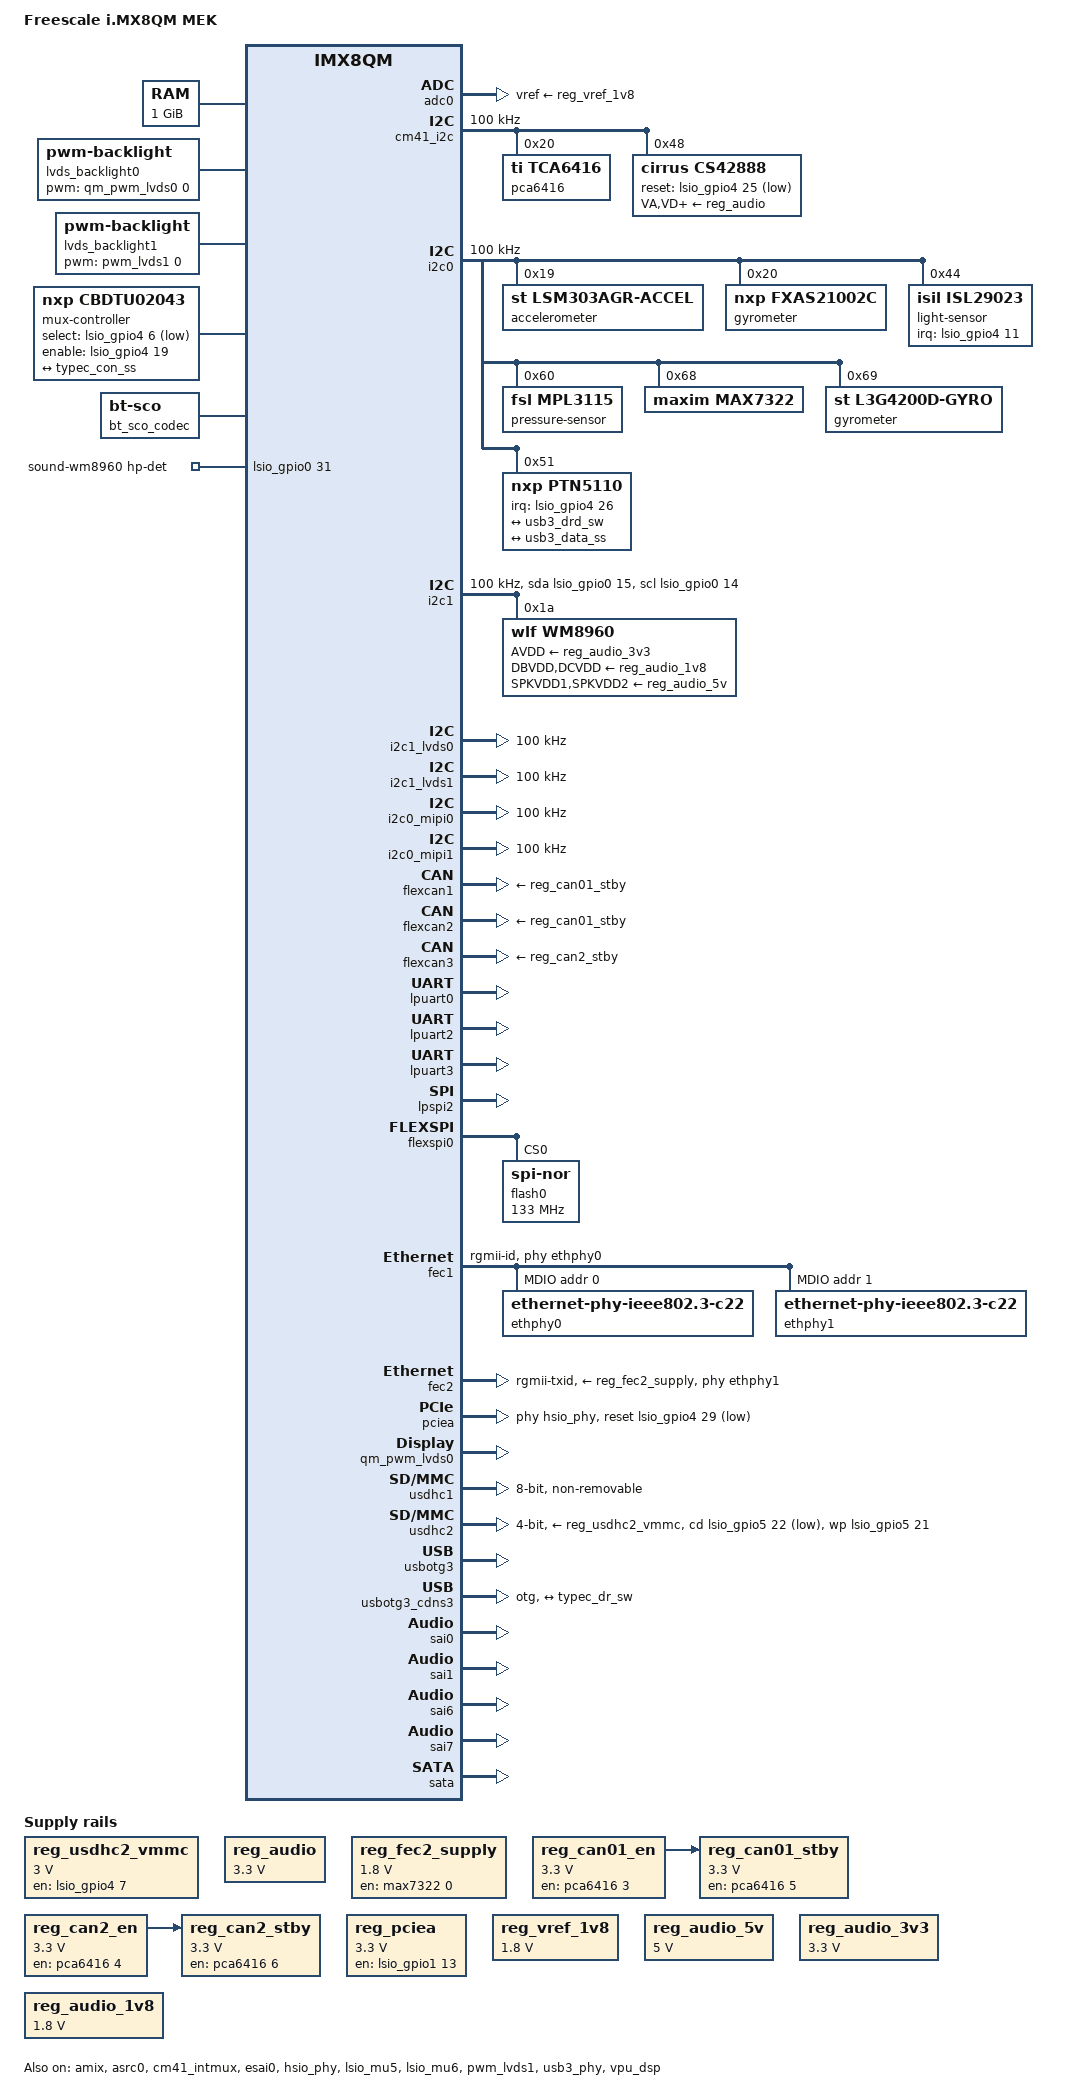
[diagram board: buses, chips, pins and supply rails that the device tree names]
// SPDX-License-Identifier: GPL-2.0+
/*
 * Copyright 2018-2019 NXP
 *	Dong Aisheng <aisheng.dong@nxp.com>
 */

/dts-v1/;

#include <dt-bindings/usb/pd.h>
#include "imx8qm.dtsi"

/ {
	model = "Freescale i.MX8QM MEK";
	compatible = "fsl,imx8qm-mek", "fsl,imx8qm";

	chosen {
		stdout-path = &lpuart0;
	};

	cpus {
		/delete-node/ cpu-map;
		/delete-node/ cpu@100;
		/delete-node/ cpu@101;
	};

	thermal-zones {
		/delete-node/ cpu1-thermal;
	};

	memory@80000000 {
		device_type = "memory";
		reg = <0x00000000 0x80000000 0 0x40000000>;
	};

	reserved-memory {
		#address-cells = <2>;
		#size-cells = <2>;
		ranges;

		vdev0vring0: memory@90000000 {
			reg = <0 0x90000000 0 0x8000>;
			no-map;
		};

		vdev0vring1: memory@90008000 {
			reg = <0 0x90008000 0 0x8000>;
			no-map;
		};

		vdev1vring0: memory@90010000 {
			reg = <0 0x90010000 0 0x8000>;
			no-map;
		};

		vdev1vring1: memory@90018000 {
			reg = <0 0x90018000 0 0x8000>;
			no-map;
		};

		rsc_table0: memory@900ff000 {
			reg = <0 0x900ff000 0 0x1000>;
			no-map;
		};

		vdev2vring0: memory@90100000 {
			reg = <0 0x90100000 0 0x8000>;
			no-map;
		};

		vdev2vring1: memory@90108000 {
			reg = <0 0x90108000 0 0x8000>;
			no-map;
		};

		vdev3vring0: memory@90110000 {
			reg = <0 0x90110000 0 0x8000>;
			no-map;
		};

		vdev3vring1: memory@90118000 {
			reg = <0 0x90118000 0 0x8000>;
			no-map;
		};

		rsc_table1: memory@901ff000 {
			reg = <0 0x901ff000 0 0x1000>;
			no-map;
		};

		vdevbuffer: memory@90400000 {
			compatible = "shared-dma-pool";
			reg = <0 0x90400000 0 0x100000>;
			no-map;
		};

		dsp_reserved: memory@92400000 {
			reg = <0 0x92400000 0 0x1000000>;
			no-map;
		};

		dsp_vdev0vring0: memory@942f0000 {
			reg = <0 0x942f0000 0 0x8000>;
			no-map;
		};

		dsp_vdev0vring1: memory@942f8000 {
			reg = <0 0x942f8000 0 0x8000>;
			no-map;
		};

		dsp_vdev0buffer: memory@94300000 {
			compatible = "shared-dma-pool";
			reg = <0 0x94300000 0 0x100000>;
			no-map;
		};
	};

	lvds_backlight0: backlight-lvds0 {
		compatible = "pwm-backlight";
		pwms = <&qm_pwm_lvds0 0 100000 0>;
		brightness-levels = <0 100>;
		num-interpolated-steps = <100>;
		default-brightness-level = <80>;
	};

	lvds_backlight1: backlight-lvds1 {
		compatible = "pwm-backlight";
		pwms = <&pwm_lvds1 0 100000 0>;
		brightness-levels = <0 100>;
		num-interpolated-steps = <100>;
		default-brightness-level = <80>;
	};

	mux-controller {
		compatible = "nxp,cbdtu02043", "gpio-sbu-mux";
		pinctrl-names = "default";
		pinctrl-0 = <&pinctrl_typec_mux>;
		select-gpios = <&lsio_gpio4 6 GPIO_ACTIVE_LOW>;
		enable-gpios = <&lsio_gpio4 19 GPIO_ACTIVE_HIGH>;
		orientation-switch;

		port {
			usb3_data_ss: endpoint {
				remote-endpoint = <&typec_con_ss>;
			};
		};
	};

	reg_usdhc2_vmmc: usdhc2-vmmc {
		compatible = "regulator-fixed";
		regulator-name = "SD1_SPWR";
		regulator-min-microvolt = <3000000>;
		regulator-max-microvolt = <3000000>;
		gpio = <&lsio_gpio4 7 GPIO_ACTIVE_HIGH>;
		enable-active-high;
	};

	reg_audio: regulator-audio {
		compatible = "regulator-fixed";
		regulator-name = "cs42888_supply";
		regulator-min-microvolt = <3300000>;
		regulator-max-microvolt = <3300000>;
	};

	reg_fec2_supply: regulator-fec2-nvcc {
		compatible = "regulator-fixed";
		regulator-name = "fec2_nvcc";
		regulator-min-microvolt = <1800000>;
		regulator-max-microvolt = <1800000>;
		gpio = <&max7322 0 GPIO_ACTIVE_HIGH>;
		enable-active-high;
	};

	reg_can01_en: regulator-can01-gen {
		compatible = "regulator-fixed";
		regulator-name = "can01-en";
		regulator-min-microvolt = <3300000>;
		regulator-max-microvolt = <3300000>;
		gpio = <&pca6416 3 GPIO_ACTIVE_HIGH>;
		enable-active-high;
	};

	reg_can2_en: regulator-can2-gen {
		compatible = "regulator-fixed";
		regulator-name = "can2-en";
		regulator-min-microvolt = <3300000>;
		regulator-max-microvolt = <3300000>;
		gpio = <&pca6416 4 GPIO_ACTIVE_HIGH>;
		enable-active-high;
	};

	reg_can01_stby: regulator-can01-stby {
		compatible = "regulator-fixed";
		regulator-name = "can01-stby";
		regulator-min-microvolt = <3300000>;
		regulator-max-microvolt = <3300000>;
		gpio = <&pca6416 5 GPIO_ACTIVE_HIGH>;
		enable-active-high;
		vin-supply = <&reg_can01_en>;
	};

	reg_can2_stby: regulator-can2-stby {
		compatible = "regulator-fixed";
		regulator-name = "can2-stby";
		regulator-min-microvolt = <3300000>;
		regulator-max-microvolt = <3300000>;
		gpio = <&pca6416 6 GPIO_ACTIVE_HIGH>;
		enable-active-high;
		vin-supply = <&reg_can2_en>;
	};

	reg_pciea: regulator-pcie {
		compatible = "regulator-fixed";
		pinctrl-0 = <&pinctrl_pciea_reg>;
		pinctrl-names = "default";
		regulator-max-microvolt = <3300000>;
		regulator-min-microvolt = <3300000>;
		regulator-name = "mpcie_3v3";
		gpio = <&lsio_gpio1 13 GPIO_ACTIVE_HIGH>;
		enable-active-high;
	};

	reg_vref_1v8: regulator-adc-vref {
		compatible = "regulator-fixed";
		regulator-name = "vref_1v8";
		regulator-min-microvolt = <1800000>;
		regulator-max-microvolt = <1800000>;
	};

	reg_audio_5v: regulator-audio-pwr {
		compatible = "regulator-fixed";
		regulator-name = "audio-5v";
		regulator-min-microvolt = <5000000>;
		regulator-max-microvolt = <5000000>;
		regulator-always-on;
		regulator-boot-on;
	};

	reg_audio_3v3: regulator-audio-3v3 {
		compatible = "regulator-fixed";
		regulator-name = "audio-3v3";
		regulator-min-microvolt = <3300000>;
		regulator-max-microvolt = <3300000>;
		regulator-always-on;
		regulator-boot-on;
	};

	reg_audio_1v8: regulator-audio-1v8 {
		compatible = "regulator-fixed";
		regulator-name = "audio-1v8";
		regulator-min-microvolt = <1800000>;
		regulator-max-microvolt = <1800000>;
		regulator-always-on;
		regulator-boot-on;
	};

	bt_sco_codec: audio-codec-bt {
		compatible = "linux,bt-sco";
		#sound-dai-cells = <1>;
	};

	sound-bt-sco {
		compatible = "simple-audio-card";
		simple-audio-card,name = "bt-sco-audio";
		simple-audio-card,format = "dsp_a";
		simple-audio-card,bitclock-inversion;
		simple-audio-card,frame-master = <&btcpu>;
		simple-audio-card,bitclock-master = <&btcpu>;

		btcpu: simple-audio-card,cpu {
			sound-dai = <&sai0>;
			dai-tdm-slot-num = <2>;
			dai-tdm-slot-width = <16>;
		};

		simple-audio-card,codec {
			sound-dai = <&bt_sco_codec 1>;
		};
	};

	sound-cs42888 {
		compatible = "fsl,imx-audio-cs42888";
		model = "imx-cs42888";
		audio-cpu = <&esai0>;
		audio-codec = <&cs42888>;
		audio-asrc = <&asrc0>;
		audio-routing = "Line Out Jack", "AOUT1L",
				"Line Out Jack", "AOUT1R",
				"Line Out Jack", "AOUT2L",
				"Line Out Jack", "AOUT2R",
				"Line Out Jack", "AOUT3L",
				"Line Out Jack", "AOUT3R",
				"Line Out Jack", "AOUT4L",
				"Line Out Jack", "AOUT4R",
				"AIN1L", "Line In Jack",
				"AIN1R", "Line In Jack",
				"AIN2L", "Line In Jack",
				"AIN2R", "Line In Jack";
	};

	sound-wm8960 {
		compatible = "fsl,imx-audio-wm8960";
		model = "wm8960-audio";
		audio-cpu = <&sai1>;
		audio-codec = <&wm8960>;
		hp-det-gpio = <&lsio_gpio0 31 GPIO_ACTIVE_HIGH>;
		audio-routing =	"Headphone Jack", "HP_L",
				"Headphone Jack", "HP_R",
				"Ext Spk", "SPK_LP",
				"Ext Spk", "SPK_LN",
				"Ext Spk", "SPK_RP",
				"Ext Spk", "SPK_RN",
				"LINPUT1", "Mic Jack",
				"Mic Jack", "MICB";
	};

	imx8qm-cm4-0 {
		compatible = "fsl,imx8qm-cm4";
		clocks = <&clk_dummy>;
		mbox-names = "tx", "rx", "rxdb";
		mboxes = <&lsio_mu5 0 1
			  &lsio_mu5 1 1
			  &lsio_mu5 3 1>;
		memory-region = <&vdevbuffer>, <&vdev0vring0>, <&vdev0vring1>,
				<&vdev1vring0>, <&vdev1vring1>, <&rsc_table0>;
		power-domains = <&pd IMX_SC_R_M4_0_PID0>, <&pd IMX_SC_R_M4_0_MU_1A>;

		fsl,resource-id = <IMX_SC_R_M4_0_PID0>;
		fsl,entry-address = <0x34fe0000>;
	};

	imx8qm-cm4-1 {
		compatible = "fsl,imx8qm-cm4";
		clocks = <&clk_dummy>;
		mbox-names = "tx", "rx", "rxdb";
		mboxes = <&lsio_mu6 0 1
			  &lsio_mu6 1 1
			  &lsio_mu6 3 1>;
		memory-region = <&vdevbuffer>, <&vdev2vring0>, <&vdev2vring1>,
				<&vdev3vring0>, <&vdev3vring1>, <&rsc_table1>;
		power-domains = <&pd IMX_SC_R_M4_1_PID0>, <&pd IMX_SC_R_M4_1_MU_1A>;

		fsl,resource-id = <IMX_SC_R_M4_1_PID0>;
		fsl,entry-address = <0x38fe0000>;
	};

};

&adc0 {
	pinctrl-names = "default";
	pinctrl-0 = <&pinctrl_adc0>;
	vref-supply = <&reg_vref_1v8>;
	status = "okay";
};

&amix {
	status = "okay";
};

&asrc0 {
	fsl,asrc-rate = <48000>;
	status = "okay";
};

&cm41_i2c {
	#address-cells = <1>;
	#size-cells = <0>;
	clock-frequency = <100000>;
	pinctrl-names = "default";
	pinctrl-0 = <&pinctrl_cm41_i2c>;
	status = "okay";

	pca6416: gpio@20 {
		compatible = "ti,tca6416";
		reg = <0x20>;
		gpio-controller;
		#gpio-cells = <2>;
	};

	cs42888: audio-codec@48 {
		compatible = "cirrus,cs42888";
		reg = <0x48>;
		clocks = <&mclkout0_lpcg IMX_LPCG_CLK_0>;
		clock-names = "mclk";
		pinctrl-names = "default";
		pinctrl-0 = <&pinctrl_cs42888_reset>;
		VA-supply = <&reg_audio>;
		VD-supply = <&reg_audio>;
		VLS-supply = <&reg_audio>;
		VLC-supply = <&reg_audio>;
		reset-gpios = <&lsio_gpio4 25 GPIO_ACTIVE_LOW>;
		assigned-clocks = <&clk IMX_SC_R_AUDIO_PLL_0 IMX_SC_PM_CLK_PLL>,
				  <&clk IMX_SC_R_AUDIO_PLL_0 IMX_SC_PM_CLK_SLV_BUS>,
				  <&clk IMX_SC_R_AUDIO_PLL_0 IMX_SC_PM_CLK_MST_BUS>,
				  <&mclkout0_lpcg IMX_LPCG_CLK_0>;
		assigned-clock-rates = <786432000>, <49152000>, <12288000>, <12288000>;
	};
};

&cm41_intmux {
	status = "okay";
};

&esai0 {
	pinctrl-names = "default";
	pinctrl-0 = <&pinctrl_esai0>;
	assigned-clocks = <&acm IMX_ADMA_ACM_ESAI0_MCLK_SEL>,
			  <&clk IMX_SC_R_AUDIO_PLL_0 IMX_SC_PM_CLK_PLL>,
			  <&clk IMX_SC_R_AUDIO_PLL_0 IMX_SC_PM_CLK_SLV_BUS>,
			  <&clk IMX_SC_R_AUDIO_PLL_0 IMX_SC_PM_CLK_MST_BUS>,
			  <&esai0_lpcg IMX_LPCG_CLK_4>;
	assigned-clock-parents = <&aud_pll_div0_lpcg IMX_LPCG_CLK_0>;
	assigned-clock-rates = <0>, <786432000>, <49152000>, <12288000>, <49152000>;
	status = "okay";
};

&hsio_phy {
	fsl,hsio-cfg = "pciea-pcieb-sata";
	fsl,refclk-pad-mode = "input";
	status = "okay";
};

&i2c0 {
	#address-cells = <1>;
	#size-cells = <0>;
	clock-frequency = <100000>;
	pinctrl-names = "default";
	pinctrl-0 = <&pinctrl_i2c0>;
	status = "okay";

	accelerometer@19 {
		compatible = "st,lsm303agr-accel";
		reg = <0x19>;
	};

	gyrometer@20 {
		compatible = "nxp,fxas21002c";
		reg = <0x20>;
	};

	light-sensor@44 {
		compatible = "isil,isl29023";
		reg = <0x44>;
		interrupt-parent = <&lsio_gpio4>;
		interrupts = <11 IRQ_TYPE_EDGE_FALLING>;
	};

	pressure-sensor@60 {
		compatible = "fsl,mpl3115";
		reg = <0x60>;
	};

	max7322: gpio@68 {
		compatible = "maxim,max7322";
		reg = <0x68>;
		gpio-controller;
		#gpio-cells = <2>;
	};

	gyrometer@69 {
		compatible = "st,l3g4200d-gyro";
		reg = <0x69>;
	};

	ptn5110: tcpc@51 {
		compatible = "nxp,ptn5110", "tcpci";
		pinctrl-names = "default";
		pinctrl-0 = <&pinctrl_typec>;
		reg = <0x51>;
		interrupt-parent = <&lsio_gpio4>;
		interrupts = <26 IRQ_TYPE_LEVEL_LOW>;
		status = "okay";

		usb_con1: connector {
			compatible = "usb-c-connector";
			label = "USB-C";
			power-role = "source";
			data-role = "dual";
			source-pdos = <PDO_FIXED(5000, 3000, PDO_FIXED_USB_COMM)>;

			ports {
				#address-cells = <1>;
				#size-cells = <0>;

				port@0 {
					reg = <0>;

					typec_dr_sw: endpoint {
						remote-endpoint = <&usb3_drd_sw>;
					};
				};

				port@1 {
					reg = <1>;
					typec_con_ss: endpoint {
						remote-endpoint = <&usb3_data_ss>;
					};
				};
			};
		};
	};
};

&i2c1 {
	#address-cells = <1>;
	#size-cells = <0>;
	clock-frequency = <100000>;
	pinctrl-names = "default", "gpio";
	pinctrl-0 = <&pinctrl_i2c1>;
	pinctrl-1 = <&pinctrl_i2c1_gpio>;
	scl-gpios = <&lsio_gpio0 14 GPIO_ACTIVE_HIGH>;
	sda-gpios = <&lsio_gpio0 15 GPIO_ACTIVE_HIGH>;
	status = "okay";

	wm8960: audio-codec@1a {
		compatible = "wlf,wm8960";
		reg = <0x1a>;
		clocks = <&mclkout0_lpcg IMX_LPCG_CLK_0>;
		clock-names = "mclk";
		assigned-clocks = <&clk IMX_SC_R_AUDIO_PLL_0 IMX_SC_PM_CLK_PLL>,
				  <&clk IMX_SC_R_AUDIO_PLL_0 IMX_SC_PM_CLK_SLV_BUS>,
				  <&clk IMX_SC_R_AUDIO_PLL_0 IMX_SC_PM_CLK_MST_BUS>,
				  <&mclkout0_lpcg IMX_LPCG_CLK_0>;
		assigned-clock-rates = <786432000>, <49152000>, <12288000>, <12288000>;
		wlf,shared-lrclk;
		wlf,hp-cfg = <2 2 3>;
		wlf,gpio-cfg = <1 3>;
		AVDD-supply = <&reg_audio_3v3>;
		DBVDD-supply = <&reg_audio_1v8>;
		DCVDD-supply = <&reg_audio_1v8>;
		SPKVDD1-supply = <&reg_audio_5v>;
		SPKVDD2-supply = <&reg_audio_5v>;
	};
};

&i2c1_lvds0 {
	pinctrl-names = "default";
	pinctrl-0 = <&pinctrl_lvds0_lpi2c1>;
	clock-frequency = <100000>;
	status = "okay";
};

&i2c1_lvds1 {
	pinctrl-names = "default";
	pinctrl-0 = <&pinctrl_lvds1_lpi2c1>;
	clock-frequency = <100000>;
	status = "okay";
};

&i2c0_mipi0 {
	pinctrl-names = "default";
	pinctrl-0 = <&pinctrl_mipi0_lpi2c0>;
	clock-frequency = <100000>;
	status = "okay";
};

&i2c0_mipi1 {
	pinctrl-names = "default";
	pinctrl-0 = <&pinctrl_mipi1_lpi2c0>;
	clock-frequency = <100000>;
	status = "okay";
};

&flexcan1 {
	pinctrl-names = "default";
	pinctrl-0 = <&pinctrl_flexcan1>;
	xceiver-supply = <&reg_can01_stby>;
	status = "okay";
};

&flexcan2 {
	pinctrl-names = "default";
	pinctrl-0 = <&pinctrl_flexcan2>;
	xceiver-supply = <&reg_can01_stby>;
	status = "okay";
};

&flexcan3 {
	pinctrl-names = "default";
	pinctrl-0 = <&pinctrl_flexcan3>;
	xceiver-supply = <&reg_can2_stby>;
	status = "okay";
};

&lpuart0 {
	pinctrl-names = "default";
	pinctrl-0 = <&pinctrl_lpuart0>;
	status = "okay";
};

&lpuart2 {
	pinctrl-names = "default";
	pinctrl-0 = <&pinctrl_lpuart2>;
	status = "okay";
};

&lpuart3 {
	pinctrl-names = "default";
	pinctrl-0 = <&pinctrl_lpuart3>;
	status = "okay";
};

&lpspi2 {
	#address-cells = <1>;
	#size-cells = <0>;
	pinctrl-names = "default";
	pinctrl-0 = <&pinctrl_lpspi2 &pinctrl_lpspi2_cs>;
	cs-gpios = <&lsio_gpio3 10 GPIO_ACTIVE_LOW>;
	status = "okay";
};

&lsio_mu5 {
	status = "okay";
};

&lsio_mu6 {
	status = "okay";
};

&flexspi0 {
	pinctrl-names = "default";
	pinctrl-0 = <&pinctrl_flexspi0>;
	status = "okay";

	flash0: flash@0 {
		reg = <0>;
		#address-cells = <1>;
		#size-cells = <1>;
		compatible = "jedec,spi-nor";
		spi-max-frequency = <133000000>;
		spi-tx-bus-width = <8>;
		spi-rx-bus-width = <8>;
	};
};

&fec1 {
	pinctrl-names = "default";
	pinctrl-0 = <&pinctrl_fec1>;
	phy-mode = "rgmii-id";
	phy-handle = <&ethphy0>;
	fsl,magic-packet;
	status = "okay";

	mdio {
		#address-cells = <1>;
		#size-cells = <0>;

		ethphy0: ethernet-phy@0 {
			compatible = "ethernet-phy-ieee802.3-c22";
			reg = <0>;
		};

		ethphy1: ethernet-phy@1 {
			compatible = "ethernet-phy-ieee802.3-c22";
			reg = <1>;
		};
	};
};

&fec2 {
	pinctrl-names = "default";
	pinctrl-0 = <&pinctrl_fec2>;
	phy-mode = "rgmii-txid";
	phy-handle = <&ethphy1>;
	phy-supply = <&reg_fec2_supply>;
	nvmem-cells = <&fec_mac1>;
	nvmem-cell-names = "mac-address";
	rx-internal-delay-ps = <2000>;
	fsl,magic-packet;
	status = "okay";
};

&pciea {
	phys = <&hsio_phy 0 PHY_TYPE_PCIE 0>;
	phy-names = "pcie-phy";
	pinctrl-0 = <&pinctrl_pciea>;
	pinctrl-names = "default";
	reset-gpio = <&lsio_gpio4 29 GPIO_ACTIVE_LOW>;
	vpcie-supply = <&reg_pciea>;
	status = "okay";
};

&pcieb {
	phys = <&hsio_phy 1 PHY_TYPE_PCIE 1>;
	phy-names = "pcie-phy";
	pinctrl-0 = <&pinctrl_pcieb>;
	pinctrl-names = "default";
	reset-gpio = <&lsio_gpio5 0 GPIO_ACTIVE_LOW>;
	status = "disabled";
};

&qm_pwm_lvds0 {
	pinctrl-names = "default";
	pinctrl-0 = <&pinctrl_pwm_lvds0>;
	status = "okay";
};

&pwm_lvds1 {
	pinctrl-names = "default";
	pinctrl-0 = <&pinctrl_pwm_lvds1>;
	status = "okay";
};

&usdhc1 {
	pinctrl-names = "default";
	pinctrl-0 = <&pinctrl_usdhc1>;
	bus-width = <8>;
	no-sd;
	no-sdio;
	non-removable;
	status = "okay";
};

&usdhc2 {
	pinctrl-names = "default";
	pinctrl-0 = <&pinctrl_usdhc2>;
	bus-width = <4>;
	vmmc-supply = <&reg_usdhc2_vmmc>;
	cd-gpios = <&lsio_gpio5 22 GPIO_ACTIVE_LOW>;
	wp-gpios = <&lsio_gpio5 21 GPIO_ACTIVE_HIGH>;
	status = "okay";
};

&usb3_phy {
	status = "okay";
};

&usbotg3 {
	status = "okay";
};

&usbotg3_cdns3 {
	dr_mode = "otg";
	usb-role-switch;
	status = "okay";

	port {
		usb3_drd_sw: endpoint {
			remote-endpoint = <&typec_dr_sw>;
		};
	};
};

&sai0 {
	#sound-dai-cells = <0>;
	assigned-clocks = <&clk IMX_SC_R_AUDIO_PLL_0 IMX_SC_PM_CLK_PLL>,
			  <&clk IMX_SC_R_AUDIO_PLL_0 IMX_SC_PM_CLK_SLV_BUS>,
			  <&clk IMX_SC_R_AUDIO_PLL_0 IMX_SC_PM_CLK_MST_BUS>,
			  <&sai0_lpcg IMX_LPCG_CLK_4>;
	assigned-clock-rates = <786432000>, <49152000>, <12288000>, <49152000>;
	pinctrl-names = "default";
	pinctrl-0 = <&pinctrl_sai0>;
	status = "okay";
};

&sai1 {
	assigned-clocks = <&clk IMX_SC_R_AUDIO_PLL_0 IMX_SC_PM_CLK_PLL>,
			  <&clk IMX_SC_R_AUDIO_PLL_0 IMX_SC_PM_CLK_SLV_BUS>,
			  <&clk IMX_SC_R_AUDIO_PLL_0 IMX_SC_PM_CLK_MST_BUS>,
			  <&sai1_lpcg IMX_LPCG_CLK_4>;
	assigned-clock-rates = <786432000>, <49152000>, <12288000>, <49152000>;
	pinctrl-names = "default";
	pinctrl-0 = <&pinctrl_sai1>;
	status = "okay";
};

&sai6 {
	assigned-clocks = <&acm IMX_ADMA_ACM_SAI6_MCLK_SEL>,
			  <&clk IMX_SC_R_AUDIO_PLL_1 IMX_SC_PM_CLK_PLL>,
			  <&clk IMX_SC_R_AUDIO_PLL_1 IMX_SC_PM_CLK_SLV_BUS>,
			  <&clk IMX_SC_R_AUDIO_PLL_1 IMX_SC_PM_CLK_MST_BUS>,
			  <&sai6_lpcg IMX_LPCG_CLK_4>;
	assigned-clock-parents = <&aud_pll_div1_lpcg IMX_LPCG_CLK_0>;
	assigned-clock-rates = <0>, <786432000>, <98304000>, <12288000>, <98304000>;
	fsl,sai-asynchronous;
	status = "okay";
};

&sai7 {
	assigned-clocks = <&acm IMX_ADMA_ACM_SAI7_MCLK_SEL>,
			  <&clk IMX_SC_R_AUDIO_PLL_1 IMX_SC_PM_CLK_PLL>,
			  <&clk IMX_SC_R_AUDIO_PLL_1 IMX_SC_PM_CLK_SLV_BUS>,
			  <&clk IMX_SC_R_AUDIO_PLL_1 IMX_SC_PM_CLK_MST_BUS>,
			  <&sai7_lpcg IMX_LPCG_CLK_4>;
	assigned-clock-parents = <&aud_pll_div1_lpcg IMX_LPCG_CLK_0>;
	assigned-clock-rates = <0>, <786432000>, <98304000>, <12288000>, <98304000>;
	fsl,sai-asynchronous;
	status = "okay";
};

&sata {
	status = "okay";
};

&vpu_dsp {
	memory-region = <&dsp_vdev0buffer>, <&dsp_vdev0vring0>,
			<&dsp_vdev0vring1>, <&dsp_reserved>;
	status = "okay";
};

&iomuxc {
	pinctrl-names = "default";
	pinctrl-0 = <&pinctrl_hog>;

	pinctrl_hog: hoggrp {
		fsl,pins = <
			IMX8QM_MCLK_OUT0_AUD_ACM_MCLK_OUT0			0x0600004c
			IMX8QM_SCU_GPIO0_03_LSIO_GPIO0_IO31			0x0600004c
		>;
	};

	pinctrl_cs42888_reset: cs42888_resetgrp {
		fsl,pins = <
			IMX8QM_QSPI1A_DATA1_LSIO_GPIO4_IO25			0x0600004c
		>;
	};

	pinctrl_i2c0: i2c0grp {
		fsl,pins = <
			IMX8QM_HDMI_TX0_TS_SCL_DMA_I2C0_SCL			0x06000021
			IMX8QM_HDMI_TX0_TS_SDA_DMA_I2C0_SDA			0x06000021
		>;
	};

	pinctrl_i2c1: i2c1grp {
		fsl,pins = <
			IMX8QM_GPT0_CLK_DMA_I2C1_SCL 0x0600004c
			IMX8QM_GPT0_CAPTURE_DMA_I2C1_SDA 0x0600004c
		>;
	};

	pinctrl_i2c1_gpio: i2c1gpio-grp {
		fsl,pins = <
			IMX8QM_GPT0_CLK_LSIO_GPIO0_IO14		0xc600004c
			IMX8QM_GPT0_CAPTURE_LSIO_GPIO0_IO15	0xc600004c
		>;
	};

	pinctrl_adc0: adc0grp {
		fsl,pins = <
			IMX8QM_ADC_IN0_DMA_ADC0_IN0				0xc0000060
		>;
	};

	pinctrl_cm41_i2c: cm41i2cgrp {
		fsl,pins = <
			IMX8QM_M41_I2C0_SDA_M41_I2C0_SDA			0x0600004c
			IMX8QM_M41_I2C0_SCL_M41_I2C0_SCL			0x0600004c
		>;
	};

	pinctrl_esai0: esai0grp {
		fsl,pins = <
			IMX8QM_ESAI0_FSR_AUD_ESAI0_FSR				0xc6000040
			IMX8QM_ESAI0_FST_AUD_ESAI0_FST				0xc6000040
			IMX8QM_ESAI0_SCKR_AUD_ESAI0_SCKR			0xc6000040
			IMX8QM_ESAI0_SCKT_AUD_ESAI0_SCKT			0xc6000040
			IMX8QM_ESAI0_TX0_AUD_ESAI0_TX0				0xc6000040
			IMX8QM_ESAI0_TX1_AUD_ESAI0_TX1				0xc6000040
			IMX8QM_ESAI0_TX2_RX3_AUD_ESAI0_TX2_RX3			0xc6000040
			IMX8QM_ESAI0_TX3_RX2_AUD_ESAI0_TX3_RX2			0xc6000040
			IMX8QM_ESAI0_TX4_RX1_AUD_ESAI0_TX4_RX1			0xc6000040
			IMX8QM_ESAI0_TX5_RX0_AUD_ESAI0_TX5_RX0			0xc6000040
		>;
	};

	pinctrl_fec1: fec1grp {
		fsl,pins = <
			IMX8QM_ENET0_MDC_CONN_ENET0_MDC				0x06000020
			IMX8QM_ENET0_MDIO_CONN_ENET0_MDIO			0x06000020
			IMX8QM_ENET0_RGMII_TX_CTL_CONN_ENET0_RGMII_TX_CTL	0x06000020
			IMX8QM_ENET0_RGMII_TXC_CONN_ENET0_RGMII_TXC		0x06000020
			IMX8QM_ENET0_RGMII_TXD0_CONN_ENET0_RGMII_TXD0		0x06000020
			IMX8QM_ENET0_RGMII_TXD1_CONN_ENET0_RGMII_TXD1		0x06000020
			IMX8QM_ENET0_RGMII_TXD2_CONN_ENET0_RGMII_TXD2		0x06000020
			IMX8QM_ENET0_RGMII_TXD3_CONN_ENET0_RGMII_TXD3		0x06000020
			IMX8QM_ENET0_RGMII_RXC_CONN_ENET0_RGMII_RXC		0x06000020
			IMX8QM_ENET0_RGMII_RX_CTL_CONN_ENET0_RGMII_RX_CTL	0x06000020
			IMX8QM_ENET0_RGMII_RXD0_CONN_ENET0_RGMII_RXD0		0x06000020
			IMX8QM_ENET0_RGMII_RXD1_CONN_ENET0_RGMII_RXD1		0x06000020
			IMX8QM_ENET0_RGMII_RXD2_CONN_ENET0_RGMII_RXD2		0x06000020
			IMX8QM_ENET0_RGMII_RXD3_CONN_ENET0_RGMII_RXD3		0x06000020
		>;
	};

	pinctrl_lpspi2: lpspi2grp {
		fsl,pins = <
			IMX8QM_SPI2_SCK_DMA_SPI2_SCK		0x06000040
			IMX8QM_SPI2_SDO_DMA_SPI2_SDO		0x06000040
			IMX8QM_SPI2_SDI_DMA_SPI2_SDI		0x06000040
		>;
	};

	pinctrl_lpspi2_cs: lpspi2csgrp {
		fsl,pins = <
			IMX8QM_SPI2_CS0_LSIO_GPIO3_IO10		0x21
		>;
	};

	pinctrl_mipi0_lpi2c0: mipi0_lpi2c0grp {
		fsl,pins = <
			IMX8QM_MIPI_DSI0_I2C0_SCL_MIPI_DSI0_I2C0_SCL      0xc6000020
			IMX8QM_MIPI_DSI0_I2C0_SDA_MIPI_DSI0_I2C0_SDA      0xc6000020
			IMX8QM_MIPI_DSI0_GPIO0_01_LSIO_GPIO1_IO19         0x00000020
		>;
	};

	pinctrl_mipi1_lpi2c0: mipi1_lpi2c0grp {
		fsl,pins = <
			IMX8QM_MIPI_DSI1_I2C0_SCL_MIPI_DSI1_I2C0_SCL      0xc6000020
			IMX8QM_MIPI_DSI1_I2C0_SDA_MIPI_DSI1_I2C0_SDA      0xc6000020
			IMX8QM_MIPI_DSI1_GPIO0_01_LSIO_GPIO1_IO23         0x00000020
		>;
	};

	pinctrl_flexspi0: flexspi0grp {
		fsl,pins = <
			IMX8QM_QSPI0A_DATA0_LSIO_QSPI0A_DATA0     0x06000021
			IMX8QM_QSPI0A_DATA1_LSIO_QSPI0A_DATA1     0x06000021
			IMX8QM_QSPI0A_DATA2_LSIO_QSPI0A_DATA2     0x06000021
			IMX8QM_QSPI0A_DATA3_LSIO_QSPI0A_DATA3     0x06000021
			IMX8QM_QSPI0A_DQS_LSIO_QSPI0A_DQS         0x06000021
			IMX8QM_QSPI0A_SS0_B_LSIO_QSPI0A_SS0_B     0x06000021
			IMX8QM_QSPI0A_SS1_B_LSIO_QSPI0A_SS1_B     0x06000021
			IMX8QM_QSPI0A_SCLK_LSIO_QSPI0A_SCLK       0x06000021
			IMX8QM_QSPI0B_SCLK_LSIO_QSPI0B_SCLK       0x06000021
			IMX8QM_QSPI0B_DATA0_LSIO_QSPI0B_DATA0     0x06000021
			IMX8QM_QSPI0B_DATA1_LSIO_QSPI0B_DATA1     0x06000021
			IMX8QM_QSPI0B_DATA2_LSIO_QSPI0B_DATA2     0x06000021
			IMX8QM_QSPI0B_DATA3_LSIO_QSPI0B_DATA3     0x06000021
			IMX8QM_QSPI0B_DQS_LSIO_QSPI0B_DQS         0x06000021
			IMX8QM_QSPI0B_SS0_B_LSIO_QSPI0B_SS0_B     0x06000021
			IMX8QM_QSPI0B_SS1_B_LSIO_QSPI0B_SS1_B     0x06000021
		>;
	};

	pinctrl_fec2: fec2grp {
		fsl,pins = <
			IMX8QM_COMP_CTL_GPIO_1V8_3V3_ENET_ENETA_PAD		0x000014a0
			IMX8QM_ENET1_RGMII_TX_CTL_CONN_ENET1_RGMII_TX_CTL	0x00000060
			IMX8QM_ENET1_RGMII_TXC_CONN_ENET1_RGMII_TXC		0x00000060
			IMX8QM_ENET1_RGMII_TXD0_CONN_ENET1_RGMII_TXD0		0x00000060
			IMX8QM_ENET1_RGMII_TXD1_CONN_ENET1_RGMII_TXD1		0x00000060
			IMX8QM_ENET1_RGMII_TXD2_CONN_ENET1_RGMII_TXD2		0x00000060
			IMX8QM_ENET1_RGMII_TXD3_CONN_ENET1_RGMII_TXD3		0x00000060
			IMX8QM_ENET1_RGMII_RXC_CONN_ENET1_RGMII_RXC		0x00000060
			IMX8QM_ENET1_RGMII_RX_CTL_CONN_ENET1_RGMII_RX_CTL	0x00000060
			IMX8QM_ENET1_RGMII_RXD0_CONN_ENET1_RGMII_RXD0		0x00000060
			IMX8QM_ENET1_RGMII_RXD1_CONN_ENET1_RGMII_RXD1		0x00000060
			IMX8QM_ENET1_RGMII_RXD2_CONN_ENET1_RGMII_RXD2		0x00000060
			IMX8QM_ENET1_RGMII_RXD3_CONN_ENET1_RGMII_RXD3		0x00000060
		>;
	};

	pinctrl_flexcan1: flexcan0grp {
		fsl,pins = <
			IMX8QM_FLEXCAN0_TX_DMA_FLEXCAN0_TX			0x21
			IMX8QM_FLEXCAN0_RX_DMA_FLEXCAN0_RX			0x21
		>;
	};

	pinctrl_flexcan2: flexcan1grp {
		fsl,pins = <
			IMX8QM_FLEXCAN1_TX_DMA_FLEXCAN1_TX			0x21
			IMX8QM_FLEXCAN1_RX_DMA_FLEXCAN1_RX			0x21
		>;
	};

	pinctrl_flexcan3: flexcan3grp {
		fsl,pins = <
			IMX8QM_FLEXCAN2_TX_DMA_FLEXCAN2_TX			0x21
			IMX8QM_FLEXCAN2_RX_DMA_FLEXCAN2_RX			0x21
		>;
	};

	pinctrl_lpuart0: lpuart0grp {
		fsl,pins = <
			IMX8QM_UART0_RX_DMA_UART0_RX				0x06000020
			IMX8QM_UART0_TX_DMA_UART0_TX				0x06000020
		>;
	};

	pinctrl_lpuart2: lpuart2grp {
		fsl,pins = <
			IMX8QM_UART0_RTS_B_DMA_UART2_RX				0x06000020
			IMX8QM_UART0_CTS_B_DMA_UART2_TX				0x06000020
		>;
	};

	pinctrl_lpuart3: lpuart3grp {
		fsl,pins = <
			IMX8QM_M41_GPIO0_00_DMA_UART3_RX			0x06000020
			IMX8QM_M41_GPIO0_01_DMA_UART3_TX			0x06000020
		>;
	};

	pinctrl_lvds0_lpi2c1: lvds0lpi2c1grp {
		fsl,pins = <
			IMX8QM_LVDS0_I2C1_SCL_LVDS0_I2C1_SCL	0xc600004c
			IMX8QM_LVDS0_I2C1_SDA_LVDS0_I2C1_SDA	0xc600004c
		>;
	};

	pinctrl_lvds1_lpi2c1: lvds1lpi2c1grp {
		fsl,pins = <
			IMX8QM_LVDS1_I2C1_SCL_LVDS1_I2C1_SCL	0xc600004c
			IMX8QM_LVDS1_I2C1_SDA_LVDS1_I2C1_SDA	0xc600004c
		>;
	};

	pinctrl_pciea: pcieagrp {
		fsl,pins = <
			IMX8QM_PCIE_CTRL0_WAKE_B_LSIO_GPIO4_IO28		0x04000021
			IMX8QM_PCIE_CTRL0_PERST_B_LSIO_GPIO4_IO29		0x06000021
			IMX8QM_SCU_GPIO0_07_SCU_DSC_RTC_CLOCK_OUTPUT_32K	0x20
		>;
	};

	pinctrl_pciea_reg: pcieareggrp {
		fsl,pins = <
			IMX8QM_LVDS1_I2C0_SDA_LSIO_GPIO1_IO13			0x06000021
		>;
	};

	pinctrl_pcieb: pciebgrp {
		fsl,pins = <
			IMX8QM_PCIE_CTRL1_CLKREQ_B_HSIO_PCIE1_CLKREQ_B		0x06000021
			IMX8QM_PCIE_CTRL1_WAKE_B_LSIO_GPIO4_IO31		0x04000021
			IMX8QM_PCIE_CTRL1_PERST_B_LSIO_GPIO5_IO00		0x06000021
		>;
	};

	pinctrl_pwm_lvds0: pwmlvds0grp {
		fsl,pins = <
			IMX8QM_LVDS0_GPIO00_LVDS0_PWM0_OUT		0x00000020
		>;
	};

	pinctrl_pwm_lvds1: pwmlvds1grp {
		fsl,pins = <
			IMX8QM_LVDS1_GPIO00_LVDS1_PWM0_OUT		0x00000020
		>;
	};

	pinctrl_sai0: sai0grp {
		fsl,pins = <
			IMX8QM_SPI0_CS1_AUD_SAI0_TXC				0x0600004c
			IMX8QM_SPI2_CS1_AUD_SAI0_TXFS				0x0600004c
			IMX8QM_SAI1_RXFS_AUD_SAI0_RXD				0x0600004c
			IMX8QM_SAI1_RXC_AUD_SAI0_TXD				0x0600006c
		>;
	};

	pinctrl_sai1: sai1grp {
		fsl,pins = <
			IMX8QM_SAI1_RXD_AUD_SAI1_RXD				0x06000040
			IMX8QM_SAI1_TXFS_AUD_SAI1_TXFS				0x06000040
			IMX8QM_SAI1_TXD_AUD_SAI1_TXD				0x06000060
			IMX8QM_SAI1_TXC_AUD_SAI1_TXC				0x06000040
		>;
	};

	pinctrl_typec: typecgrp {
		fsl,pins = <
			IMX8QM_QSPI1A_DATA0_LSIO_GPIO4_IO26		0x00000021
		>;
	};

	pinctrl_typec_mux: typecmuxgrp {
		fsl,pins = <
			IMX8QM_QSPI1A_SS0_B_LSIO_GPIO4_IO19		0x60
			IMX8QM_USB_SS3_TC3_LSIO_GPIO4_IO06		0x60
		>;
	};

	pinctrl_usdhc1: usdhc1grp {
		fsl,pins = <
			IMX8QM_EMMC0_CLK_CONN_EMMC0_CLK				0x06000041
			IMX8QM_EMMC0_CMD_CONN_EMMC0_CMD				0x00000021
			IMX8QM_EMMC0_DATA0_CONN_EMMC0_DATA0			0x00000021
			IMX8QM_EMMC0_DATA1_CONN_EMMC0_DATA1			0x00000021
			IMX8QM_EMMC0_DATA2_CONN_EMMC0_DATA2			0x00000021
			IMX8QM_EMMC0_DATA3_CONN_EMMC0_DATA3			0x00000021
			IMX8QM_EMMC0_DATA4_CONN_EMMC0_DATA4			0x00000021
			IMX8QM_EMMC0_DATA5_CONN_EMMC0_DATA5			0x00000021
			IMX8QM_EMMC0_DATA6_CONN_EMMC0_DATA6			0x00000021
			IMX8QM_EMMC0_DATA7_CONN_EMMC0_DATA7			0x00000021
			IMX8QM_EMMC0_STROBE_CONN_EMMC0_STROBE			0x00000041
		>;
	};

	pinctrl_usdhc2: usdhc2grp {
		fsl,pins = <
			IMX8QM_USDHC1_CLK_CONN_USDHC1_CLK			0x06000041
			IMX8QM_USDHC1_CMD_CONN_USDHC1_CMD			0x00000021
			IMX8QM_USDHC1_DATA0_CONN_USDHC1_DATA0			0x00000021
			IMX8QM_USDHC1_DATA1_CONN_USDHC1_DATA1			0x00000021
			IMX8QM_USDHC1_DATA2_CONN_USDHC1_DATA2			0x00000021
			IMX8QM_USDHC1_DATA3_CONN_USDHC1_DATA3			0x00000021
			IMX8QM_USDHC1_VSELECT_CONN_USDHC1_VSELECT		0x00000021
		>;
	};
};
